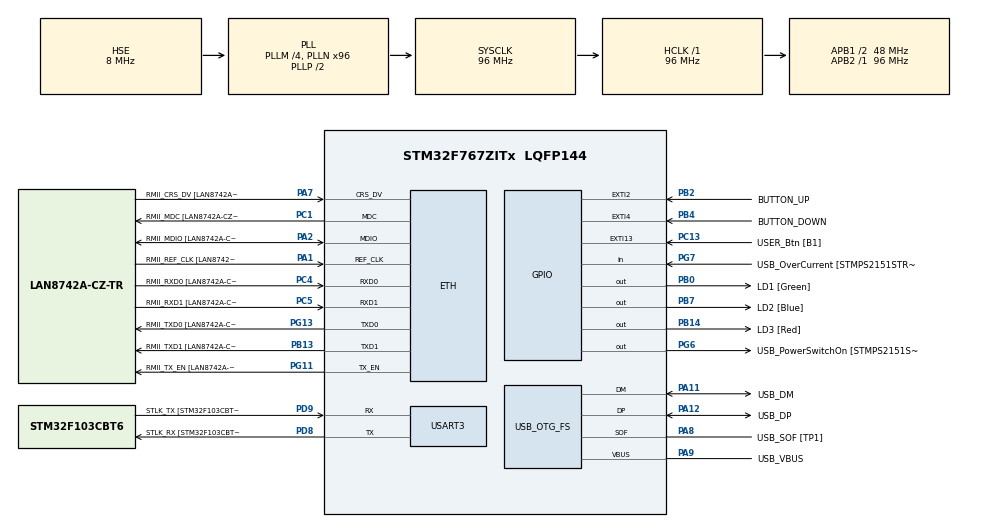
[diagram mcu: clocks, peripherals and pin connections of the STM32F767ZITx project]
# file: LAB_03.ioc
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ETH.MediaInterface=HAL_ETH_RMII_MODE
ETH.PHY_Name=LAN8742A_PHY_ADDRESS
ETH.PHY_Value=0
ETH.PhyAddress=0
Mcu.Family=STM32F7
Mcu.Name=STM32F767ZITx
Mcu.Package=LQFP144
NVIC.EXTI15_10_IRQn=true\:0\:0\:false\:false\:true\:true\:true\:true
NVIC.EXTI2_IRQn=true\:0\:0\:false\:false\:true\:true\:true\:true
NVIC.EXTI4_IRQn=true\:0\:0\:false\:false\:true\:true\:true\:true
NVIC.PriorityGroup=NVIC_PRIORITYGROUP_4
NVIC.TIM2_IRQn=true\:0\:0\:false\:false\:true\:true\:true\:true
PA1.GPIO_Label=RMII_REF_CLK [LAN8742A-CZ-TR_REFCLK0]
PA1.Mode=RMII
PA1.Signal=ETH_REF_CLK
PA10.GPIO_Label=USB_ID
PA10.Signal=USB_OTG_FS_ID
PA11.GPIO_Label=USB_DM
PA11.Mode=Device_Only
PA11.Signal=USB_OTG_FS_DM
PA12.GPIO_Label=USB_DP
PA12.Mode=Device_Only
PA12.Signal=USB_OTG_FS_DP
PA13.GPIO_Label=TMS
PA13.Mode=Serial_Wire
PA13.Signal=SYS_JTMS-SWDIO
PA14.GPIO_Label=TCK
PA14.Mode=Serial_Wire
PA14.Signal=SYS_JTCK-SWCLK
PA2.GPIO_Label=RMII_MDIO [LAN8742A-CZ-TR_MDIO]
PA2.Mode=RMII
PA2.Signal=ETH_MDIO
PA7.GPIO_Label=RMII_CRS_DV [LAN8742A-CZ-TR_CRS_DV]
PA7.Mode=RMII
PA7.Signal=ETH_CRS_DV
PA8.GPIO_Label=USB_SOF [TP1]
PA8.Mode=Activate_SOF_FS
PA8.Signal=USB_OTG_FS_SOF
PA9.GPIO_Label=USB_VBUS
PA9.Mode=Activate_VBUS
PA9.Signal=USB_OTG_FS_VBUS
PB0.GPIO_Label=LD1 [Green]
PB0.Signal=GPIO_Output
PB13.GPIO_Label=RMII_TXD1 [LAN8742A-CZ-TR_TXD1]
PB13.Mode=RMII
PB13.Signal=ETH_TXD1
PB14.GPIO_Label=LD3 [Red]
PB14.Signal=GPIO_Output
PB2.GPIO_Label=BUTTON_UP
PB2.GPIO_ModeDefaultEXTI=GPIO_MODE_IT_FALLING
PB2.GPIO_PuPd=GPIO_PULLUP
PB2.Signal=GPXTI2
PB3.GPIO_Label=SWO
PB3.Signal=SYS_JTDO-SWO
PB4.GPIO_Label=BUTTON_DOWN
PB4.GPIO_ModeDefaultEXTI=GPIO_MODE_IT_RISING
PB4.GPIO_PuPd=GPIO_PULLDOWN
PB4.Signal=GPXTI4
PB7.GPIO_Label=LD2 [Blue]
PB7.Signal=GPIO_Output
PC1.GPIO_Label=RMII_MDC [LAN8742A-CZ-TR_MDC]
PC1.Mode=RMII
PC1.Signal=ETH_MDC
PC13.GPIO_Label=USER_Btn [B1]
PC13.Signal=GPXTI13
PC14/OSC32_IN.Mode=LSE-External-Oscillator
PC14/OSC32_IN.Signal=RCC_OSC32_IN
PC15/OSC32_OUT.Mode=LSE-External-Oscillator
PC15/OSC32_OUT.Signal=RCC_OSC32_OUT
PC4.GPIO_Label=RMII_RXD0 [LAN8742A-CZ-TR_RXD0]
PC4.Mode=RMII
PC4.Signal=ETH_RXD0
PC5.GPIO_Label=RMII_RXD1 [LAN8742A-CZ-TR_RXD1]
PC5.Mode=RMII
PC5.Signal=ETH_RXD1
PD8.GPIO_Label=STLK_RX [STM32F103CBT6_PA3]
PD8.Mode=Asynchronous
PD8.Signal=USART3_TX
PD9.GPIO_Label=STLK_TX [STM32F103CBT6_PA2]
PD9.Mode=Asynchronous
PD9.Signal=USART3_RX
PG11.GPIO_Label=RMII_TX_EN [LAN8742A-CZ-TR_TXEN]
PG11.Mode=RMII
PG11.Signal=ETH_TX_EN
PG13.GPIO_Label=RMII_TXD0 [LAN8742A-CZ-TR_TXD0]
PG13.Mode=RMII
PG13.Signal=ETH_TXD0
PG6.GPIO_Label=USB_PowerSwitchOn [STMPS2151STR_EN]
PG6.Signal=GPIO_Output
PG7.GPIO_Label=USB_OverCurrent [STMPS2151STR_FAULT]
PG7.Signal=GPIO_Input
PH0/OSC_IN.GPIO_Label=MCO [STM32F103CBT6_PA8]
PH0/OSC_IN.Mode=HSE-External-Clock-Source
PH0/OSC_IN.Signal=RCC_OSC_IN
PH1/OSC_OUT.Mode=HSE-External-Clock-Source
PH1/OSC_OUT.Signal=RCC_OSC_OUT
ProjectManager.HeapSize=0x200
ProjectManager.StackSize=0x400
ProjectManager.TargetToolchain=STM32CubeIDE
RCC.48MHZClocksFreq_Value=24000000
RCC.AHBFreq_Value=96000000
RCC.APB1CLKDivider=RCC_HCLK_DIV2
RCC.APB1Freq_Value=48000000
RCC.APB1TimFreq_Value=96000000
RCC.APB2Freq_Value=96000000
RCC.APB2TimFreq_Value=96000000
RCC.CortexFreq_Value=96000000
RCC.HCLKFreq_Value=96000000
RCC.HSE_VALUE=8000000
RCC.HSI_VALUE=16000000
RCC.PLLM=4
RCC.PLLMUL=RCC_PLL_MUL9
RCC.PLLN=96
RCC.PLLQ=4
RCC.PRESCALERUSB=RCC_USBCLKSOURCE_PLL_DIV1_5
RCC.SYSCLKFreq_VALUE=96000000
RCC.SYSCLKSource=RCC_SYSCLKSOURCE_PLLCLK
RCC.SYSCLKSourceVirtual=RCC_SYSCLKSOURCE_PLLCLK
RCC.USBFreq_Value=48000000
RCC.VCOOutputFreq_Value=192000000
TIM2.Period=4999
TIM2.Prescaler=95
USART3.VirtualMode-Asynchronous=VM_ASYNC
USB_OTG_FS.VirtualMode=Device_Only
VP_TIM2_VS_ClockSourceINT.Mode=Internal
board=NUCLEO-F767ZI

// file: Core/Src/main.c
/* USER CODE BEGIN Header */
/**
 ******************************************************************************
 * @file           : main.c
 * @brief          : Main program body
 ******************************************************************************
 * @attention
 *
 * Copyright (c) 2025 STMicroelectronics.
 * All rights reserved.
 *
 * This software is licensed under terms that can be found in the LICENSE file
 * in the root directory of this software component.
 * If no LICENSE file comes with this software, it is provided AS-IS.
 *
 ******************************************************************************
 */
/* USER CODE END Header */
#include "main.h"
#include "string.h"

#if defined ( __ICCARM__ ) /*!< IAR Compiler */
#pragma location=0x2007c000
ETH_DMADescTypeDef  DMARxDscrTab[ETH_RX_DESC_CNT]; /* Ethernet Rx DMA Descriptors */
#pragma location=0x2007c0a0
ETH_DMADescTypeDef  DMATxDscrTab[ETH_TX_DESC_CNT]; /* Ethernet Tx DMA Descriptors */

#elif defined ( __CC_ARM )  /* MDK ARM Compiler */

__attribute__((at(0x2007c000))) ETH_DMADescTypeDef  DMARxDscrTab[ETH_RX_DESC_CNT]; /* Ethernet Rx DMA Descriptors */
__attribute__((at(0x2007c0a0))) ETH_DMADescTypeDef  DMATxDscrTab[ETH_TX_DESC_CNT]; /* Ethernet Tx DMA Descriptors */

#elif defined ( __GNUC__ ) /* GNU Compiler */

ETH_DMADescTypeDef DMARxDscrTab[ETH_RX_DESC_CNT] __attribute__((section(".RxDecripSection"))); /* Ethernet Rx DMA Descriptors */
ETH_DMADescTypeDef DMATxDscrTab[ETH_TX_DESC_CNT] __attribute__((section(".TxDecripSection")));   /* Ethernet Tx DMA Descriptors */
#endif

ETH_TxPacketConfig TxConfig;

ETH_HandleTypeDef heth;

TIM_HandleTypeDef htim2;

UART_HandleTypeDef huart3;

PCD_HandleTypeDef hpcd_USB_OTG_FS;

void SystemClock_Config(void);
static void MX_GPIO_Init(void);
static void MX_ETH_Init(void);
static void MX_USART3_UART_Init(void);
static void MX_USB_OTG_FS_PCD_Init(void);
static void MX_TIM2_Init(void);

/* USER CODE BEGIN 0 */

const uint32_t MIN_PERIOD_US = 5000;
const uint32_t MAX_PERIOD_US = 2000000;
const uint32_t STEP_PERIOD_US = 100000;
const uint32_t DEBOUNCE_TIME_MS = 200;

uint32_t current_period_us = MIN_PERIOD_US;
uint32_t last_button_time = 0;

GPIO_PinState LD1_State;

void HAL_TIM_PeriodElapsedCallback(TIM_HandleTypeDef *htim) {
	if (htim->Instance == TIM2) {
		HAL_GPIO_TogglePin(GPIOB, LD2_Pin);
		LD1_State = HAL_GPIO_ReadPin(GPIOB, LD2_Pin);
	}
}

void HAL_GPIO_EXTI_Callback(uint16_t GPIO_Pin) {

	if (GPIO_Pin == BUTTON_UP_Pin) {
		HAL_GPIO_TogglePin(GPIOB, LD1_Pin);  // debug — inna dioda
	} else if (GPIO_Pin == BUTTON_DOWN_Pin) {
		HAL_GPIO_TogglePin(GPIOB, LD3_Pin);  // debug — inna dioda
	}

	if (GPIO_Pin == BUTTON_DOWN_Pin) {
		uint32_t now = HAL_GetTick();
		if (now - last_button_time < DEBOUNCE_TIME_MS)
			return;

		last_button_time = now;

		current_period_us -= STEP_PERIOD_US;
		if (current_period_us < MIN_PERIOD_US) {
			current_period_us += STEP_PERIOD_US;
		}

		HAL_TIM_Base_Stop_IT(&htim2);
		__HAL_TIM_SET_AUTORELOAD(&htim2, current_period_us - 1);
		__HAL_TIM_SET_COUNTER(&htim2, 0);
		HAL_TIM_Base_Start_IT(&htim2);
	} else if (GPIO_Pin == BUTTON_UP_Pin) {
		uint32_t now = HAL_GetTick();
		if (now - last_button_time < DEBOUNCE_TIME_MS)
			return;

		last_button_time = now;

		current_period_us += STEP_PERIOD_US;
		if (current_period_us > MAX_PERIOD_US) {
			current_period_us -= STEP_PERIOD_US;
		}

		HAL_TIM_Base_Stop_IT(&htim2);
		__HAL_TIM_SET_AUTORELOAD(&htim2, current_period_us - 1);
		__HAL_TIM_SET_COUNTER(&htim2, 0);
		HAL_TIM_Base_Start_IT(&htim2);
	}

}

/* USER CODE END 0 */

int main(void)
{

  /* MCU Configuration--------------------------------------------------------*/

  /* Reset of all peripherals, Initializes the Flash interface and the Systick. */
  HAL_Init();

  /* Configure the system clock */
  SystemClock_Config();

  /* Initialize all configured peripherals */
  MX_GPIO_Init();
  MX_ETH_Init();
  MX_USART3_UART_Init();
  MX_USB_OTG_FS_PCD_Init();
  MX_TIM2_Init();
  /* USER CODE BEGIN 2 */
	HAL_TIM_Base_Start_IT(&htim2);

  /* USER CODE END 2 */

  /* Infinite loop */
	while (1) {

	}
}

void SystemClock_Config(void)
{
  RCC_OscInitTypeDef RCC_OscInitStruct = {0};
  RCC_ClkInitTypeDef RCC_ClkInitStruct = {0};

  /** Configure LSE Drive Capability
  */
  HAL_PWR_EnableBkUpAccess();

  /** Configure the main internal regulator output voltage
  */
  __HAL_RCC_PWR_CLK_ENABLE();
  __HAL_PWR_VOLTAGESCALING_CONFIG(PWR_REGULATOR_VOLTAGE_SCALE3);

  /** Initializes the RCC Oscillators according to the specified parameters
  * in the RCC_OscInitTypeDef structure.
  */
  RCC_OscInitStruct.OscillatorType = RCC_OSCILLATORTYPE_HSE;
  RCC_OscInitStruct.HSEState = RCC_HSE_BYPASS;
  RCC_OscInitStruct.PLL.PLLState = RCC_PLL_ON;
  RCC_OscInitStruct.PLL.PLLSource = RCC_PLLSOURCE_HSE;
  RCC_OscInitStruct.PLL.PLLM = 4;
  RCC_OscInitStruct.PLL.PLLN = 96;
  RCC_OscInitStruct.PLL.PLLP = RCC_PLLP_DIV2;
  RCC_OscInitStruct.PLL.PLLQ = 4;
  RCC_OscInitStruct.PLL.PLLR = 2;
  if (HAL_RCC_OscConfig(&RCC_OscInitStruct) != HAL_OK)
  {
    Error_Handler();
  }

  /** Activate the Over-Drive mode
  */
  if (HAL_PWREx_EnableOverDrive() != HAL_OK)
  {
    Error_Handler();
  }

  /** Initializes the CPU, AHB and APB buses clocks
  */
  RCC_ClkInitStruct.ClockType = RCC_CLOCKTYPE_HCLK|RCC_CLOCKTYPE_SYSCLK
                              |RCC_CLOCKTYPE_PCLK1|RCC_CLOCKTYPE_PCLK2;
  RCC_ClkInitStruct.SYSCLKSource = RCC_SYSCLKSOURCE_PLLCLK;
  RCC_ClkInitStruct.AHBCLKDivider = RCC_SYSCLK_DIV1;
  RCC_ClkInitStruct.APB1CLKDivider = RCC_HCLK_DIV2;
  RCC_ClkInitStruct.APB2CLKDivider = RCC_HCLK_DIV1;

  if (HAL_RCC_ClockConfig(&RCC_ClkInitStruct, FLASH_LATENCY_3) != HAL_OK)
  {
    Error_Handler();
  }
}

static void MX_ETH_Init(void)
{

   static uint8_t MACAddr[6];

  heth.Instance = ETH;
  MACAddr[0] = 0x00;
  MACAddr[1] = 0x80;
  MACAddr[2] = 0xE1;
  MACAddr[3] = 0x00;
  MACAddr[4] = 0x00;
  MACAddr[5] = 0x00;
  heth.Init.MACAddr = &MACAddr[0];
  heth.Init.MediaInterface = HAL_ETH_RMII_MODE;
  heth.Init.TxDesc = DMATxDscrTab;
  heth.Init.RxDesc = DMARxDscrTab;
  heth.Init.RxBuffLen = 1524;

  if (HAL_ETH_Init(&heth) != HAL_OK)
  {
    Error_Handler();
  }

  memset(&TxConfig, 0 , sizeof(ETH_TxPacketConfig));
  TxConfig.Attributes = ETH_TX_PACKETS_FEATURES_CSUM | ETH_TX_PACKETS_FEATURES_CRCPAD;
  TxConfig.ChecksumCtrl = ETH_CHECKSUM_IPHDR_PAYLOAD_INSERT_PHDR_CALC;
  TxConfig.CRCPadCtrl = ETH_CRC_PAD_INSERT;

}

static void MX_TIM2_Init(void)
{

  TIM_ClockConfigTypeDef sClockSourceConfig = {0};
  TIM_MasterConfigTypeDef sMasterConfig = {0};

  htim2.Instance = TIM2;
  htim2.Init.Prescaler = 95;
  htim2.Init.CounterMode = TIM_COUNTERMODE_UP;
  htim2.Init.Period = 4999;
  htim2.Init.ClockDivision = TIM_CLOCKDIVISION_DIV1;
  htim2.Init.AutoReloadPreload = TIM_AUTORELOAD_PRELOAD_DISABLE;
  if (HAL_TIM_Base_Init(&htim2) != HAL_OK)
  {
    Error_Handler();
  }
  sClockSourceConfig.ClockSource = TIM_CLOCKSOURCE_INTERNAL;
  if (HAL_TIM_ConfigClockSource(&htim2, &sClockSourceConfig) != HAL_OK)
  {
    Error_Handler();
  }
  sMasterConfig.MasterOutputTrigger = TIM_TRGO_RESET;
  sMasterConfig.MasterSlaveMode = TIM_MASTERSLAVEMODE_DISABLE;
  if (HAL_TIMEx_MasterConfigSynchronization(&htim2, &sMasterConfig) != HAL_OK)
  {
    Error_Handler();
  }

}

static void MX_USART3_UART_Init(void)
{

  huart3.Instance = USART3;
  huart3.Init.BaudRate = 115200;
  huart3.Init.WordLength = UART_WORDLENGTH_8B;
  huart3.Init.StopBits = UART_STOPBITS_1;
  huart3.Init.Parity = UART_PARITY_NONE;
  huart3.Init.Mode = UART_MODE_TX_RX;
  huart3.Init.HwFlowCtl = UART_HWCONTROL_NONE;
  huart3.Init.OverSampling = UART_OVERSAMPLING_16;
  huart3.Init.OneBitSampling = UART_ONE_BIT_SAMPLE_DISABLE;
  huart3.AdvancedInit.AdvFeatureInit = UART_ADVFEATURE_NO_INIT;
  if (HAL_UART_Init(&huart3) != HAL_OK)
  {
    Error_Handler();
  }

}

static void MX_USB_OTG_FS_PCD_Init(void)
{

  hpcd_USB_OTG_FS.Instance = USB_OTG_FS;
  hpcd_USB_OTG_FS.Init.dev_endpoints = 6;
  hpcd_USB_OTG_FS.Init.speed = PCD_SPEED_FULL;
  hpcd_USB_OTG_FS.Init.dma_enable = DISABLE;
  hpcd_USB_OTG_FS.Init.phy_itface = PCD_PHY_EMBEDDED;
  hpcd_USB_OTG_FS.Init.Sof_enable = ENABLE;
  hpcd_USB_OTG_FS.Init.low_power_enable = DISABLE;
  hpcd_USB_OTG_FS.Init.lpm_enable = DISABLE;
  hpcd_USB_OTG_FS.Init.vbus_sensing_enable = ENABLE;
  hpcd_USB_OTG_FS.Init.use_dedicated_ep1 = DISABLE;
  if (HAL_PCD_Init(&hpcd_USB_OTG_FS) != HAL_OK)
  {
    Error_Handler();
  }

}

static void MX_GPIO_Init(void)
{
  GPIO_InitTypeDef GPIO_InitStruct = {0};

  /* GPIO Ports Clock Enable */
  __HAL_RCC_GPIOC_CLK_ENABLE();
  __HAL_RCC_GPIOH_CLK_ENABLE();
  __HAL_RCC_GPIOA_CLK_ENABLE();
  __HAL_RCC_GPIOB_CLK_ENABLE();
  __HAL_RCC_GPIOD_CLK_ENABLE();
  __HAL_RCC_GPIOG_CLK_ENABLE();

  /*Configure GPIO pin Output Level */
  HAL_GPIO_WritePin(GPIOB, LD1_Pin|LD3_Pin|LD2_Pin, GPIO_PIN_RESET);

  /*Configure GPIO pin Output Level */
  HAL_GPIO_WritePin(USB_PowerSwitchOn_GPIO_Port, USB_PowerSwitchOn_Pin, GPIO_PIN_RESET);

  /*Configure GPIO pin : USER_Btn_Pin */
  GPIO_InitStruct.Pin = USER_Btn_Pin;
  GPIO_InitStruct.Mode = GPIO_MODE_IT_RISING;
  GPIO_InitStruct.Pull = GPIO_NOPULL;
  HAL_GPIO_Init(USER_Btn_GPIO_Port, &GPIO_InitStruct);

  /*Configure GPIO pins : LD1_Pin LD3_Pin LD2_Pin */
  GPIO_InitStruct.Pin = LD1_Pin|LD3_Pin|LD2_Pin;
  GPIO_InitStruct.Mode = GPIO_MODE_OUTPUT_PP;
  GPIO_InitStruct.Pull = GPIO_NOPULL;
  GPIO_InitStruct.Speed = GPIO_SPEED_FREQ_LOW;
  HAL_GPIO_Init(GPIOB, &GPIO_InitStruct);

  /*Configure GPIO pin : BUTTON_UP_Pin */
  GPIO_InitStruct.Pin = BUTTON_UP_Pin;
  GPIO_InitStruct.Mode = GPIO_MODE_IT_FALLING;
  GPIO_InitStruct.Pull = GPIO_PULLUP;
  HAL_GPIO_Init(BUTTON_UP_GPIO_Port, &GPIO_InitStruct);

  /*Configure GPIO pin : USB_PowerSwitchOn_Pin */
  GPIO_InitStruct.Pin = USB_PowerSwitchOn_Pin;
  GPIO_InitStruct.Mode = GPIO_MODE_OUTPUT_PP;
  GPIO_InitStruct.Pull = GPIO_NOPULL;
  GPIO_InitStruct.Speed = GPIO_SPEED_FREQ_LOW;
  HAL_GPIO_Init(USB_PowerSwitchOn_GPIO_Port, &GPIO_InitStruct);

  /*Configure GPIO pin : USB_OverCurrent_Pin */
  GPIO_InitStruct.Pin = USB_OverCurrent_Pin;
  GPIO_InitStruct.Mode = GPIO_MODE_INPUT;
  GPIO_InitStruct.Pull = GPIO_NOPULL;
  HAL_GPIO_Init(USB_OverCurrent_GPIO_Port, &GPIO_InitStruct);

  /*Configure GPIO pin : BUTTON_DOWN_Pin */
  GPIO_InitStruct.Pin = BUTTON_DOWN_Pin;
  GPIO_InitStruct.Mode = GPIO_MODE_IT_RISING;
  GPIO_InitStruct.Pull = GPIO_PULLDOWN;
  HAL_GPIO_Init(BUTTON_DOWN_GPIO_Port, &GPIO_InitStruct);

  /* EXTI interrupt init*/
  HAL_NVIC_SetPriority(EXTI2_IRQn, 0, 0);
  HAL_NVIC_EnableIRQ(EXTI2_IRQn);

  HAL_NVIC_SetPriority(EXTI4_IRQn, 0, 0);
  HAL_NVIC_EnableIRQ(EXTI4_IRQn);

  HAL_NVIC_SetPriority(EXTI15_10_IRQn, 0, 0);
  HAL_NVIC_EnableIRQ(EXTI15_10_IRQn);

}

void Error_Handler(void)
{
	__disable_irq();
	while (1) {
	}
}
